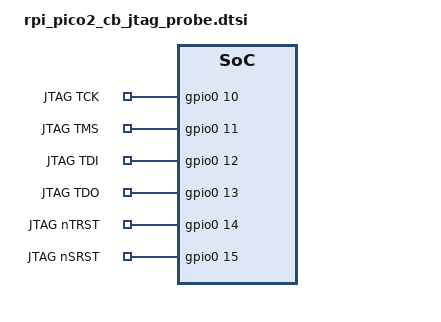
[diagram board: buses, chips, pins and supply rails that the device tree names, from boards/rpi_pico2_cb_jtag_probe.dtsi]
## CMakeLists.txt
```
# Copyright (c) 2021 Teslabs Engineering S.L.
# SPDX-License-Identifier: Apache-2.0

cmake_minimum_required(VERSION 3.20.0)

# add our custom zephyr BOARD_ROOT directory
list(APPEND BOARD_ROOT
	${CMAKE_CURRENT_SOURCE_DIR}/../
)

find_package(Zephyr REQUIRED HINTS $ENV{ZEPHYR_BASE})
project(max6675)

FILE(GLOB app_sources CONFIGURE_DEPENDS src/*.c)
target_sources(app PRIVATE ${app_sources})
```

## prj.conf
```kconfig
CONFIG_USB_DEVICE_STACK_NEXT=y
CONFIG_USBD_LOG_LEVEL_WRN=y
CONFIG_USBD_THREAD_STACK_SIZE=4096
CONFIG_USBD_CDC_ACM_CLASS=y
CONFIG_USBD_CDC_ACM_LOG_LEVEL_OFF=y

CONFIG_SERIAL=y
CONFIG_UART_LINE_CTRL=y
CONFIG_UART_INTERRUPT_DRIVEN=y
CONFIG_UART_USE_RUNTIME_CONFIGURE=y
```

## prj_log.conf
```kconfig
# SPDX-License-Identifier: GPL-3.0
# Copyright (c) 2023 Chriesibaum GmbH

# enable the boot banner
CONFIG_BOOT_BANNER=y

# enable all console and log messages
CONFIG_EARLY_CONSOLE=y
CONFIG_DEBUG=y
CONFIG_CONSOLE=y
CONFIG_UART_CONSOLE=y
CONFIG_STDOUT_CONSOLE=y


# enable logging
CONFIG_LOG=y
CONFIG_LOG_BACKEND_UART=y
CONFIG_LOG_BUFFER_SIZE=2024
CONFIG_LOG_RUNTIME_FILTERING=y
CONFIG_LOG_PROCESS_TRIGGER_THRESHOLD=0
CONFIG_CBPRINTF_FP_SUPPORT=y
CONFIG_LOG_PROCESS_THREAD=y
CONFIG_LOG_PROCESS_THREAD_SLEEP_MS=100
CONFIG_LOG_PROCESS_THREAD_STACK_SIZE=1024

# OFF: 0
# ERR: 1
# WRN: 2
# INF: 3
# DBG: 4
CONFIG_LOG_DEFAULT_LEVEL=3
```

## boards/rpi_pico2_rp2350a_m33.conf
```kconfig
CONFIG_SMP=y
CONFIG_MP_MAX_NUM_CPUS=2
```

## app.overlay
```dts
/{
	chosen {
		zephyr,console = &cdc_acm_uart0;
		zephyr,shell-uart = &cdc_acm_uart0;
	};
/*
	aliases {
		sys-led = &blue_led;
	};
*/
};


&zephyr_udc0 {

	cdc_acm_uart0: cdc_acm_uart0 {
		compatible = "zephyr,cdc-acm-uart";
		label = "Zephyr USB CDC-ACM uart0";
		status = "okay";
	};
};
```

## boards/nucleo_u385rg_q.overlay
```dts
/ {
	aliases {
		jtag-tck = &jtag_tck;
		jtag-tms = &jtag_tms;
		jtag-tdi = &jtag_tdi;
		jtag-tdo = &jtag_tdo;
	};

	jtag_pins: jtag_pins {
		compatible = "gpio-keys";

		jtag_tck: jtag_tck {
			gpios = <&gpioa 3 GPIO_ACTIVE_HIGH>;
			label = "JTAG TCK";
		};

		jtag_tms: jtag_tms {
			gpios = <&gpioa 2 GPIO_ACTIVE_HIGH>;
			label = "JTAG TMS";
		};

		jtag_tdi: jtag_tdi {
			gpios = <&gpioc 8 GPIO_ACTIVE_HIGH>;
			label = "JTAG TDI";
		};

		jtag_tdo: jtag_tdo {
			gpios = <&gpiob 3 GPIO_ACTIVE_HIGH>;
			label = "JTAG TDO";
		};
	};
};
```

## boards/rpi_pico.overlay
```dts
/ {
	aliases {
		jtag-tck = &jtag_tck;
		jtag-tms = &jtag_tms;
		jtag-tdi = &jtag_tdi;
		jtag-tdo = &jtag_tdo;
	};

	jtag_pins: jtag_pins {
		compatible = "gpio-keys";

		jtag_tck: jtag_tck {
			gpios = <&gpio0 0 GPIO_ACTIVE_HIGH>;
			label = "JTAG TCK";
		};

		jtag_tms: jtag_tms {
			gpios = <&gpio0 1 GPIO_ACTIVE_HIGH>;
			label = "JTAG TMS";
		};

		jtag_tdi: jtag_tdi {
			gpios = <&gpio0 2 GPIO_ACTIVE_HIGH>;
			label = "JTAG TDI";
		};

		jtag_tdo: jtag_tdo {
			gpios = <&gpio0 3 GPIO_ACTIVE_HIGH>;
			label = "JTAG TDO";
		};
	};
};
```

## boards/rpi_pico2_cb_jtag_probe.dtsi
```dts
/ {
	aliases {
        sys-led = &led0;
		jtag-tck = &jtag_tck;
		jtag-tms = &jtag_tms;
		jtag-tdi = &jtag_tdi;
		jtag-tdo = &jtag_tdo;
		jtag-ntrst = &jtag_ntrst;
		jtag-nsrst = &jtag_nsrst;
	};

	jtag_pins: jtag_pins {
		compatible = "gpio-keys";

		jtag_tck: jtag_tck {
			gpios = <&gpio0 10 GPIO_ACTIVE_HIGH>;
			label = "JTAG TCK";
		};

		jtag_tms: jtag_tms {
			gpios = <&gpio0 11 GPIO_ACTIVE_HIGH>;
			label = "JTAG TMS";
		};

		jtag_tdi: jtag_tdi {
			gpios = <&gpio0 12 GPIO_ACTIVE_HIGH>;
			label = "JTAG TDI";
		};

		jtag_tdo: jtag_tdo {
			gpios = <&gpio0 13 GPIO_ACTIVE_HIGH>;
			label = "JTAG TDO";
		};

		jtag_ntrst: jtag_ntrst {
			gpios = <&gpio0 14 GPIO_ACTIVE_HIGH>;
			label = "JTAG nTRST";
		};

		jtag_nsrst: jtag_nsrst {
			gpios = <&gpio0 15 GPIO_ACTIVE_HIGH>;
			label = "JTAG nSRST";
		};

	};
};
```

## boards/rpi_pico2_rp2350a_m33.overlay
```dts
#include "rpi_pico2_cb_jtag_probe.dtsi"
```

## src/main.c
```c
#include <stdio.h>

#include <zephyr/kernel.h>

#include "error.h"
#include "sys.h"
#include "info.h"
#include "jtag_engine.h"
#include "usb_bulk_jtag.h"
#include "usb_jtag_transport.h"

// ---- logging includes/defines ----------------------------------------------
#include <zephyr/logging/log.h>
LOG_MODULE_REGISTER(main, CONFIG_LOG_DEFAULT_LEVEL);


int32_t main(void)
{
    int ret;

    ret = sys_init();
    ERR_CHECK(ret < 0, ret, "System init failed (err %d)", ret);

    ret = jtag_engine_init();
    ERR_CHECK(ret < 0, ret, "JTAG engine init failed (err %d)", ret);

    ret = usb_bulk_jtag_init();
    ERR_CHECK(ret < 0, ret, "USB bulk JTAG init failed (err %d)", ret);

    k_sleep(K_SECONDS(1));

    info_log();

    while (true) {
        k_sleep(K_SECONDS(1));
    }
}
```

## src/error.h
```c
// SPDX-License-Identifier: GPL-3.0
// Copyright (c) 2023 Chriesibaum GmbH

#ifndef _ERROR_H
#define _ERROR_H

#ifdef __cplusplus
extern "C" {
#endif


// INCLUDE FILES
#include <zephyr/kernel.h>


// GLOBAL DEFINITIONS
// Definition of global defines and typedefs (visible by all modules).

// general errors defines
#define NO_ERR										0			// no error
#define ALL_GOOD									NO_ERR		// no error on exit
#define GEN_ERR										-1			// general error
#define INIT_ERR									-2			// initialization error
#define PARAM_ERR									-3			// parameter error
#define MEM_ERR										-4			// memory error
#define COMM_ERR									-5			// communication error

/**
 ** @brief Error check and return macro
 **
 ** The macro checks the contract value and if != 0/True then it returns the parameter
 ** error_code and logs or printk()'s the error to std.
 **
 ** @param[in] contract contract value to be checked
 ** @param[in] error_code error code to be returned
 ** @param[in] message_format `printf`-like format string to log or print the message
 ** @return error_code return value if contract
 **
 ** Example:
 ** \code{.c}
 **     int32_t ret = 0;
 **
 **     // return value from some_function) = 0 if all good, neg. value if error
 **     ret = some_function()
 **     ERR_CHECK(ret, GEN_ERR, "just an error to test (err %d)", ret);
 **
 **     // return value from some_other_function() = 0 or pos value if all good,
 **     // neg. value if an error occurred
 **     ret = some_other_function()
 **     ERR_CHECK(ret < 0, GEN_ERR, "just an error to test (err %d)", ret);
 **
 **     // or return the error value from some_other_function() instead of GEN_ERR
 **     ERR_CHECK(ret < 0, ret, "just an error to test (err %d)", ret);
 ** \endcode
 **/

#if defined CONFIG_LOG || defined APP_DOXYGEN	// use LOG_ERR() if logging is enabled

#define ERR_CHECK(contract, error_code, message_format, ...) \
if ((contract)) { \
	LOG_ERR(message_format, ##__VA_ARGS__); \
	return error_code; \
}

#else					// use printk if no logging is available

#define ERR_CHECK(contract, error_code, message_format, ...) \
if ((contract)) { \
	printk("<err> "); \
	printk(message_format, ##__VA_ARGS__); \
	printk("\n"); \
	return error_code; \
}
#endif


/**
 ** @brief Error check and halt macro
 **
 ** The macro checks the contract value and if true, it logs the error or prints it to std
 ** and halts the kernel by software triggering a fatal error.
 **
 ** @param[in] contract contract value to be checked
 ** @param[in] message_format `printf`-like format string to log or print the message
 **/

#if defined CONFIG_LOG || defined APP_DOXYGEN	// use LOG_ERR() if logging is enabled

#define ERR_CHECK_HALT(contract, message_format, ...) \
if ((contract)) { \
	LOG_ERR(message_format, ##__VA_ARGS__); \
	LOG_ERR("Fatal ERROR - halting system!"); \
	k_oops(); \
}

#else					// use printk if no logging is available

#define ERR_CHECK_HALT(contract, message_format, ...) \
if ((contract)) { \
	printk("<err> "); \
	printk(message_format, ##__VA_ARGS__); \
	LOG_ERR("\nFatal ERROR - halting system!\n"); \
	k_oops(); \
}
#endif


#ifdef __cplusplus
}
#endif

#endif // _ERROR_H

/** @} */
```

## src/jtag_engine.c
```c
#include <zephyr/devicetree.h>
#include <zephyr/drivers/gpio.h>
#include <errno.h>
#include <string.h>

#include "jtag_engine.h"
#include "jtag_proto.h"
#include "error.h"

// ---- logging includes/defines ----------------------------------------------
#include <zephyr/logging/log.h>
// LOG_MODULE_REGISTER(JTAG_ENGINE, CONFIG_LOG_DEFAULT_LEVEL);
LOG_MODULE_REGISTER(JTAG_ENGINE, LOG_LEVEL_DBG);

#define JTAG_TCK_NODE DT_ALIAS(jtag_tck)
#define JTAG_TMS_NODE DT_ALIAS(jtag_tms)
#define JTAG_TDI_NODE DT_ALIAS(jtag_tdi)
#define JTAG_TDO_NODE DT_ALIAS(jtag_tdo)
#define JTAG_NSRST_NODE DT_NODELABEL(jtag_nsrst)

#if DT_HAS_ALIAS(jtag_tck) && DT_HAS_ALIAS(jtag_tms) && \
	DT_HAS_ALIAS(jtag_tdi) && DT_HAS_ALIAS(jtag_tdo)

    static const struct gpio_dt_spec jtag_tck = GPIO_DT_SPEC_GET(JTAG_TCK_NODE, gpios);
    static const struct gpio_dt_spec jtag_tms = GPIO_DT_SPEC_GET(JTAG_TMS_NODE, gpios);
    static const struct gpio_dt_spec jtag_tdi = GPIO_DT_SPEC_GET(JTAG_TDI_NODE, gpios);
    static const struct gpio_dt_spec jtag_tdo = GPIO_DT_SPEC_GET(JTAG_TDO_NODE, gpios);
#else
#error "JTAG GPIO aliases (jtag-tck/tms/tdi/tdo) must be defined in devicetree"
#endif

static bool jtag_ready;
static bool nsrst_ready;
static const size_t jtag_log_hexdump_max_bytes = 64u;

#if DT_NODE_EXISTS(JTAG_NSRST_NODE)
static const struct gpio_dt_spec jtag_nsrst = GPIO_DT_SPEC_GET(JTAG_NSRST_NODE, gpios);
#endif

static inline uint8_t get_bit(const uint8_t *buf, uint32_t bit_index)
{
	return (buf[bit_index / 8u] >> (bit_index % 8u)) & 0x1u;
}

static inline void set_bit(uint8_t *buf, uint32_t bit_index, uint8_t value)
{
	uint8_t mask = (uint8_t)(1u << (bit_index % 8u));

	if (value != 0u) {
		buf[bit_index / 8u] |= mask;
	} else {
		buf[bit_index / 8u] &= (uint8_t)(~mask);
	}
}

int jtag_engine_init(void)
{
	int rc;

	if (!device_is_ready(jtag_tck.port) || !device_is_ready(jtag_tms.port) ||
	    !device_is_ready(jtag_tdi.port) || !device_is_ready(jtag_tdo.port)) {
		LOG_ERR("JTAG GPIO port not ready");
		return -1;
	}

	rc = gpio_pin_configure_dt(&jtag_tck, GPIO_OUTPUT_INACTIVE);
	if (rc != 0) {
		LOG_ERR("Failed to configure TCK rc=%d", rc);
		return rc;
	}

	rc = gpio_pin_configure_dt(&jtag_tms, GPIO_OUTPUT_INACTIVE);
	if (rc != 0) {
		LOG_ERR("Failed to configure TMS rc=%d", rc);
		return rc;
	}

	rc = gpio_pin_configure_dt(&jtag_tdi, GPIO_OUTPUT_INACTIVE);
	if (rc != 0) {
		LOG_ERR("Failed to configure TDI rc=%d", rc);
		return rc;
	}

	rc = gpio_pin_configure_dt(&jtag_tdo, GPIO_INPUT);
	if (rc != 0) {
		LOG_ERR("Failed to configure TDO rc=%d", rc);
		return rc;
	}

#if DT_NODE_EXISTS(JTAG_NSRST_NODE)
	if (!device_is_ready(jtag_nsrst.port)) {
		LOG_WRN("nSRST GPIO port not ready, reset control disabled");
		nsrst_ready = false;
	} else {
		rc = gpio_pin_configure_dt(&jtag_nsrst, GPIO_OUTPUT_ACTIVE);
		if (rc != 0) {
			LOG_WRN("Failed to configure nSRST rc=%d, reset control disabled", rc);
			nsrst_ready = false;
		} else {
			nsrst_ready = true;
		}
	}
#else
	nsrst_ready = false;
#endif

	jtag_ready = true;
	return 0;
}

int jtag_engine_shift_bits(const uint8_t *tdi,
			   const uint8_t *tms,
			   uint8_t *tdo,
			   uint32_t n_bits)
{
	size_t n_bytes;
	size_t dump_bytes;
	int rc;

	if (!jtag_ready) {
		return -1;
	}

	if ((tdi == NULL) || (tms == NULL) || (tdo == NULL) || (n_bits == 0u)) {
		return -2;
	}

	n_bytes = jtag_bytes_for_bits(n_bits);
	dump_bytes = (n_bytes > jtag_log_hexdump_max_bytes) ? jtag_log_hexdump_max_bytes : n_bytes;

	LOG_DBG("Shifting %u bits through JTAG chain (%u bytes)", n_bits, (uint32_t)n_bytes);
	LOG_HEXDUMP_DBG(tdi, dump_bytes, "TDI");
	LOG_HEXDUMP_DBG(tms, dump_bytes, "TMS");
	if (dump_bytes < n_bytes) {
		LOG_DBG("Hexdump truncated to %u/%u bytes", (uint32_t)dump_bytes, (uint32_t)n_bytes);
	}

	memset(tdo, 0, n_bytes);

	for (uint32_t i = 0; i < n_bits; i++) {
		rc = gpio_pin_set_dt(&jtag_tms, get_bit(tms, i));
		if (rc != 0) {
			return rc;
		}

		rc = gpio_pin_set_dt(&jtag_tdi, get_bit(tdi, i));
		if (rc != 0) {
			return rc;
		}

		rc = gpio_pin_set_dt(&jtag_tck, 1);
		if (rc != 0) {
			return rc;
		}

		rc = gpio_pin_get_dt(&jtag_tdo);
		if (rc < 0) {
			return rc;
		}
		set_bit(tdo, i, (uint8_t)rc);

		rc = gpio_pin_set_dt(&jtag_tck, 0);
		if (rc != 0) {
			return rc;
		}
	}

	return 0;
}

int jtag_engine_shift_loopback(const uint8_t *tdi,
				      const uint8_t *tms,
				      uint8_t *tdo,
				      uint32_t n_bits)
{
	size_t n_bytes;
	uint8_t last_mask;

	(void)tms;

	if ((tdi == NULL) || (tdo == NULL) || (n_bits == 0u)) {
		return -1;
	}

	n_bytes = jtag_bytes_for_bits(n_bits);
	memcpy(tdo, tdi, n_bytes);

	/* Ensure padding bits above n_bits are always cleared. */
	last_mask = (uint8_t)((n_bits % 8u) == 0u ? 0xFFu : ((1u << (n_bits % 8u)) - 1u));
	tdo[n_bytes - 1u] &= last_mask;

    LOG_HEXDUMP_DBG(tdo, n_bytes, "TDO");

	return 0;
}

int jtag_engine_set_nsrst_high(void)
{
#if DT_NODE_EXISTS(JTAG_NSRST_NODE)
	if (!jtag_ready) {
		return -EIO;
	}

	if (!nsrst_ready) {
		return -ENOTSUP;
	}

	LOG_DBG("set nSRST high");
	return gpio_pin_set_dt(&jtag_nsrst, 1);
#else
	return -ENOTSUP;
#endif
}

int jtag_engine_set_nsrst_low(void)
{
#if DT_NODE_EXISTS(JTAG_NSRST_NODE)
	if (!jtag_ready) {
		return -EIO;
	}

	if (!nsrst_ready) {
		return -ENOTSUP;
	}

	LOG_DBG("set nSRST low");
	return gpio_pin_set_dt(&jtag_nsrst, 0);
#else
	return -ENOTSUP;
#endif
}
```

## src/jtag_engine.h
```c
#ifndef JTAG_ENGINE_H_
#define JTAG_ENGINE_H_

#include <stdint.h>

#ifdef __cplusplus
extern "C" {
#endif

int jtag_engine_init(void);

int jtag_engine_shift_bits(const uint8_t *tdi,
			   const uint8_t *tms,
			   uint8_t *tdo,
			   uint32_t n_bits);

int jtag_engine_shift_loopback(const uint8_t *tdi,
				      const uint8_t *tms,
				      uint8_t *tdo,
				      uint32_t n_bits);

int jtag_engine_set_nsrst_high(void);
int jtag_engine_set_nsrst_low(void);

#ifdef __cplusplus
}
#endif

#endif /* JTAG_ENGINE_H_ */
```

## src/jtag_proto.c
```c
#include "jtag_proto.h"

#include <string.h>

#define JTAG_PROTO_RESERVED_MASK 0x0000u

static uint16_t le16_read(const uint8_t *p)
{
	return (uint16_t)p[0] | ((uint16_t)p[1] << 8);
}

static uint32_t le32_read(const uint8_t *p)
{
	return (uint32_t)p[0] |
	       ((uint32_t)p[1] << 8) |
	       ((uint32_t)p[2] << 16) |
	       ((uint32_t)p[3] << 24);
}

static void le16_write(uint8_t *p, uint16_t v)
{
	p[0] = (uint8_t)(v & 0xFFu);
	p[1] = (uint8_t)((v >> 8) & 0xFFu);
}

static void le32_write(uint8_t *p, uint32_t v)
{
	p[0] = (uint8_t)(v & 0xFFu);
	p[1] = (uint8_t)((v >> 8) & 0xFFu);
	p[2] = (uint8_t)((v >> 16) & 0xFFu);
	p[3] = (uint8_t)((v >> 24) & 0xFFu);
}

size_t jtag_bytes_for_bits(uint32_t n_bits)
{
	return (size_t)((n_bits + 7u) / 8u);
}

int jtag_proto_decode_scan_request(const uint8_t *buf, size_t len,
					 struct jtag_scan_request *req)
{
	size_t n_bytes;
	uint16_t reserved;
	uint8_t cmd;

	if ((buf == NULL) || (req == NULL) || (len < JTAG_PROTO_HEADER_SIZE)) {
		return -1;
	}

	cmd = buf[0];
	if (cmd != JTAG_CMD_SCAN) {
		return -2;
	}

	reserved = le16_read(&buf[2]);
	if (reserved != JTAG_PROTO_RESERVED_MASK) {
		return -3;
	}

	req->flags = buf[1];
	req->n_bits = le32_read(&buf[4]);
	n_bytes = jtag_bytes_for_bits(req->n_bits);

	if (req->n_bits == 0u) {
		return -4;
	}

	if (len != (JTAG_PROTO_HEADER_SIZE + (2u * n_bytes))) {
		return -5;
	}

	req->n_bytes = n_bytes;
	req->tdi = &buf[JTAG_PROTO_HEADER_SIZE];
	req->tms = &buf[JTAG_PROTO_HEADER_SIZE + n_bytes];

	return 0;
}

int jtag_proto_encode_scan_response(const struct jtag_scan_response *rsp,
					 uint8_t *buf,
					 size_t buf_len,
					 size_t *encoded_len)
{
	size_t needed;

	if ((rsp == NULL) || (buf == NULL) || (encoded_len == NULL)) {
		return -1;
	}

	needed = JTAG_PROTO_HEADER_SIZE + rsp->n_bytes;
	if (buf_len < needed) {
		return -2;
	}

	buf[0] = rsp->status;
	buf[1] = rsp->flags;
	le16_write(&buf[2], 0u);
	le32_write(&buf[4], rsp->n_bits);

	if ((rsp->n_bytes > 0u) && (rsp->tdo != NULL)) {
		memcpy(&buf[JTAG_PROTO_HEADER_SIZE], rsp->tdo, rsp->n_bytes);
	}

	*encoded_len = needed;
	return 0;
}
```

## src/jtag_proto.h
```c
#ifndef JTAG_PROTO_H_
#define JTAG_PROTO_H_

#include <stddef.h>
#include <stdint.h>

#ifdef __cplusplus
extern "C" {
#endif

#define JTAG_CMD_SCAN 0x01u
#define JTAG_CMD_NSRST_HIGH 0x02u
#define JTAG_CMD_NSRST_LOW 0x03u
#define JTAG_CMD_GET_FW_VERSION 0x04u
#define JTAG_CMD_GET_DEVICE_ID 0x05u

#define JTAG_FW_VERSION_PAYLOAD_LEN 32u
#define JTAG_DEVICE_ID_PAYLOAD_MAX_LEN 16u

#define JTAG_STATUS_OK 0x00u
#define JTAG_STATUS_BAD_CMD 0x01u
#define JTAG_STATUS_BAD_LEN 0x02u
#define JTAG_STATUS_INTERNAL_ERR 0x03u

#define JTAG_PROTO_HEADER_SIZE 8u

struct jtag_scan_request {
	uint8_t flags;
	uint32_t n_bits;
	size_t n_bytes;
	const uint8_t *tdi;
	const uint8_t *tms;
};

struct jtag_scan_response {
	uint8_t status;
	uint8_t flags;
	uint32_t n_bits;
	size_t n_bytes;
	const uint8_t *tdo;
};

size_t jtag_bytes_for_bits(uint32_t n_bits);

int jtag_proto_decode_scan_request(const uint8_t *buf, size_t len,
					 struct jtag_scan_request *req);

int jtag_proto_encode_scan_response(const struct jtag_scan_response *rsp,
					 uint8_t *buf,
					 size_t buf_len,
					 size_t *encoded_len);

#ifdef __cplusplus
}
#endif

#endif /* JTAG_PROTO_H_ */
```

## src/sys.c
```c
// SPDX-License-Identifier: GPL-3.0
// Copyright (c) 2026 Chriesibaum GmbH

// ---- system includes -------------------------------------------------------
#include <stdio.h>
#include <zephyr/kernel.h>
#include <zephyr/drivers/gpio.h>

// ---- logging includes/defines ----------------------------------------------
#include <zephyr/logging/log.h>
LOG_MODULE_REGISTER(SYS, CONFIG_LOG_DEFAULT_LEVEL);

// Application includes
#include "sys.h"


#define LED_SYS_NODE DT_ALIAS(sys_led)
#define LED_TOGGLE_PERIOD_MS 1000   // Toggle period in milliseconds
#define LED_BLINK_DURATION_MS  50   // LED on duration in milliseconds


static const struct gpio_dt_spec led_sys = GPIO_DT_SPEC_GET(LED_SYS_NODE, gpios);

// sys led timer
static void sys_led_timer_handler(struct k_timer *timer);
K_TIMER_DEFINE(sys_led_timer, sys_led_timer_handler, NULL);

static void sys_led_timer_off_handler(struct k_timer *timer);
K_TIMER_DEFINE(sys_led_timer_off, sys_led_timer_off_handler, NULL);

static void sys_led_timer_handler(struct k_timer *timer)
{
    gpio_pin_set_dt(&led_sys, 1);
    k_timer_start(&sys_led_timer_off, K_MSEC(LED_BLINK_DURATION_MS), K_NO_WAIT);
}

static void sys_led_timer_off_handler(struct k_timer *timer)
{
    gpio_pin_set_dt(&led_sys, 0);
}

int32_t sys_init(void)
{
    if (!gpio_is_ready_dt(&led_sys)) {
        return -1;
    }

    int32_t ret = gpio_pin_configure_dt(&led_sys, GPIO_OUTPUT_INACTIVE);
    if (ret < 0) {
        return ret;
    }

    /* Start the timer to toggle LED every LED_TOGGLE_PERIOD_MS */
    k_timer_start(&sys_led_timer, K_MSEC(LED_TOGGLE_PERIOD_MS), K_MSEC(LED_TOGGLE_PERIOD_MS));

    return 0;
}
```

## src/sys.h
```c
// SPDX-License-Identifier: GPL-3.0
// Copyright (c) 2026 Chriesibaum GmbH

#ifndef _SYS_H
#define _SYS_H

#ifdef __cplusplus
extern "C" {
#endif


// ---- INCLUDES --------------------------------------------------------------------


// ---- GLOBAL DEFINITIONS -------------------------------------------------------
// Definition of global defines and typedefs (visible by all modules).


// ---- GLOBAL PROTOTYPES ---------------------------------------------------------
// Definition of global functions (visible by all modules).
extern int32_t sys_init(void);

#ifdef __cplusplus
}
#endif

#endif // _SYS_H

/** @} */
```

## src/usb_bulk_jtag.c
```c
#include "usb_bulk_jtag.h"

#include <errno.h>

#include <zephyr/drivers/usb/udc.h>
#include <zephyr/kernel.h>
#include <zephyr/logging/log.h>
#include <zephyr/sys/byteorder.h>
#include <zephyr/usb/usbd.h>

#include "jtag_proto.h"
#include "usb_jtag_transport.h"

LOG_MODULE_REGISTER(usb_bulk_jtag, CONFIG_LOG_DEFAULT_LEVEL);

#define JTAG_BULK_EP_OUT_ADDR 0x01
#define JTAG_BULK_EP_IN_ADDR  0x81

#define JTAG_BULK_MAX_BITS        4096u
#define JTAG_BULK_MAX_REQ_BYTES   (JTAG_PROTO_HEADER_SIZE + (2u * (JTAG_BULK_MAX_BITS / 8u)))
#define JTAG_BULK_MAX_RESP_BYTES  (JTAG_PROTO_HEADER_SIZE + (JTAG_BULK_MAX_BITS / 8u))
#define JTAG_BULK_OUT_XFER_BYTES  USBD_MAX_BULK_MPS

enum {
	JTAG_BULK_ENABLED = 0,
	JTAG_BULK_OUT_ARMED,
	JTAG_BULK_IN_FLIGHT,
};

struct jtag_bulk_desc {
	struct usb_if_descriptor if0;
	struct usb_ep_descriptor if0_out_ep;
	struct usb_ep_descriptor if0_in_ep;
	struct usb_ep_descriptor if0_hs_out_ep;
	struct usb_ep_descriptor if0_hs_in_ep;
	struct usb_desc_header nil_desc;
};

struct jtag_bulk_data {
	struct jtag_bulk_desc *const desc;
	const struct usb_desc_header **const fs_desc;
	const struct usb_desc_header **const hs_desc;
	atomic_t state;
	size_t rx_len;
	uint8_t rx_buf[JTAG_BULK_MAX_REQ_BYTES];
};

static uint8_t tx_buf[JTAG_BULK_MAX_RESP_BYTES];

static int jtag_bulk_expected_req_len(const uint8_t *buf, size_t len, size_t *expected)
{
	uint8_t cmd;
	uint32_t n_bits;
	size_t n_bytes;

	if ((buf == NULL) || (expected == NULL)) {
		return -EINVAL;
	}

	if (len < JTAG_PROTO_HEADER_SIZE) {
		return -EAGAIN;
	}

	cmd = buf[0];
	if ((cmd == JTAG_CMD_NSRST_HIGH) ||
	    (cmd == JTAG_CMD_NSRST_LOW) ||
	    (cmd == JTAG_CMD_GET_FW_VERSION) ||
	    (cmd == JTAG_CMD_GET_DEVICE_ID)) {
		*expected = JTAG_PROTO_HEADER_SIZE;
		return 0;
	}

	if (cmd != JTAG_CMD_SCAN) {
		return -EINVAL;
	}

	/* Header layout: cmd(1), flags(1), reserved(2), n_bits(4 LE). */
	n_bits = (uint32_t)buf[4] |
		 ((uint32_t)buf[5] << 8) |
		 ((uint32_t)buf[6] << 16) |
		 ((uint32_t)buf[7] << 24);

	if (n_bits == 0u) {
		return -EINVAL;
	}

	n_bytes = jtag_bytes_for_bits(n_bits);
	*expected = JTAG_PROTO_HEADER_SIZE + (2u * n_bytes);

	if (*expected > JTAG_BULK_MAX_REQ_BYTES) {
		return -EMSGSIZE;
	}

	return 0;
}

static uint8_t jtag_bulk_get_out_ep(struct usbd_class_data *const c_data)
{
	struct jtag_bulk_data *data = usbd_class_get_private(c_data);
	struct usbd_context *ctx = usbd_class_get_ctx(c_data);

	if (USBD_SUPPORTS_HIGH_SPEED && usbd_bus_speed(ctx) == USBD_SPEED_HS) {
		return data->desc->if0_hs_out_ep.bEndpointAddress;
	}

	return data->desc->if0_out_ep.bEndpointAddress;
}

static uint8_t jtag_bulk_get_in_ep(struct usbd_class_data *const c_data)
{
	struct jtag_bulk_data *data = usbd_class_get_private(c_data);
	struct usbd_context *ctx = usbd_class_get_ctx(c_data);

	if (USBD_SUPPORTS_HIGH_SPEED && usbd_bus_speed(ctx) == USBD_SPEED_HS) {
		return data->desc->if0_hs_in_ep.bEndpointAddress;
	}

	return data->desc->if0_in_ep.bEndpointAddress;
}

static int jtag_bulk_submit_out(struct usbd_class_data *const c_data)
{
	struct jtag_bulk_data *data = usbd_class_get_private(c_data);
	struct net_buf *buf;
	int ret;

	if (!atomic_test_bit(&data->state, JTAG_BULK_ENABLED)) {
		return -EPERM;
	}

	buf = usbd_ep_buf_alloc(c_data, jtag_bulk_get_out_ep(c_data), JTAG_BULK_OUT_XFER_BYTES);
	if (buf == NULL) {
		LOG_ERR("Failed to allocate OUT buffer (%u bytes)", JTAG_BULK_OUT_XFER_BYTES);
		return -ENOMEM;
	}

	ret = usbd_ep_enqueue(c_data, buf);
	if (ret != 0) {
		LOG_ERR("Failed to enqueue OUT transfer ret=%d", ret);
		net_buf_unref(buf);
	} else {
		atomic_set_bit(&data->state, JTAG_BULK_OUT_ARMED);
	}

	return ret;
}

static int jtag_bulk_submit_in(struct usbd_class_data *const c_data,
			      const uint8_t *data,
			      size_t len)
{
	struct jtag_bulk_data *bulk_data = usbd_class_get_private(c_data);
	struct net_buf *buf;
	int ret;

	if ((data == NULL) || (len == 0u) || (len > JTAG_BULK_MAX_RESP_BYTES)) {
		return -EINVAL;
	}

	buf = usbd_ep_buf_alloc(c_data, jtag_bulk_get_in_ep(c_data), len);
	if (buf == NULL) {
		return -ENOMEM;
	}

	net_buf_add_mem(buf, data, len);
	ret = usbd_ep_enqueue(c_data, buf);
	if (ret != 0) {
		net_buf_unref(buf);
	} else {
		atomic_set_bit(&bulk_data->state, JTAG_BULK_IN_FLIGHT);
	}

	return ret;
}

static void jtag_bulk_send_status(struct usbd_class_data *const c_data, uint8_t status)
{
	struct jtag_scan_response rsp = {
		.status = status,
		.flags = 0u,
		.n_bits = 0u,
		.n_bytes = 0u,
		.tdo = NULL,
	};
	size_t tx_len = 0u;

	if (jtag_proto_encode_scan_response(&rsp, tx_buf, sizeof(tx_buf), &tx_len) == 0) {
		(void)jtag_bulk_submit_in(c_data, tx_buf, tx_len);
	}
}

static void jtag_bulk_reset_rx(struct jtag_bulk_data *data)
{
	data->rx_len = 0u;
}

static int jtag_bulk_request_handler(struct usbd_class_data *const c_data,
				     struct net_buf *const buf,
				     int err)
{
	struct udc_buf_info *bi = udc_get_buf_info(buf);
	uint8_t ep = bi->ep;

	if (ep == jtag_bulk_get_out_ep(c_data)) {
		struct jtag_bulk_data *data = usbd_class_get_private(c_data);

		atomic_clear_bit(&data->state, JTAG_BULK_OUT_ARMED);

		if (err == 0) {
			size_t tx_len = 0u;
			size_t expected = 0u;
			int ret;

			if ((data->rx_len + buf->len) > sizeof(data->rx_buf)) {
				LOG_WRN("RX frame overflow (%u + %u)", (uint32_t)data->rx_len,
					(uint32_t)buf->len);
				jtag_bulk_send_status(c_data, JTAG_STATUS_BAD_LEN);
				jtag_bulk_reset_rx(data);
				net_buf_unref(buf);
				if (!atomic_test_bit(&data->state, JTAG_BULK_IN_FLIGHT)) {
					(void)jtag_bulk_submit_out(c_data);
				}
				return 0;
			}

			memcpy(&data->rx_buf[data->rx_len], buf->data, buf->len);
			data->rx_len += buf->len;

			ret = jtag_bulk_expected_req_len(data->rx_buf, data->rx_len, &expected);
			if (ret == -EAGAIN) {
				net_buf_unref(buf);
				if (!atomic_test_bit(&data->state, JTAG_BULK_IN_FLIGHT)) {
					(void)jtag_bulk_submit_out(c_data);
				}
				return 0;
			}

			if (ret != 0) {
				jtag_bulk_send_status(c_data, JTAG_STATUS_BAD_LEN);
				jtag_bulk_reset_rx(data);
				net_buf_unref(buf);
				if (!atomic_test_bit(&data->state, JTAG_BULK_IN_FLIGHT)) {
					(void)jtag_bulk_submit_out(c_data);
				}
				return 0;
			}

			if (data->rx_len < expected) {
				net_buf_unref(buf);
				if (!atomic_test_bit(&data->state, JTAG_BULK_IN_FLIGHT)) {
					(void)jtag_bulk_submit_out(c_data);
				}
				return 0;
			}

			if (data->rx_len > expected) {
				jtag_bulk_send_status(c_data, JTAG_STATUS_BAD_LEN);
				jtag_bulk_reset_rx(data);
				net_buf_unref(buf);
				if (!atomic_test_bit(&data->state, JTAG_BULK_IN_FLIGHT)) {
					(void)jtag_bulk_submit_out(c_data);
				}
				return 0;
			}

			ret = usb_jtag_transport_process_frame(data->rx_buf, data->rx_len,
							      tx_buf, sizeof(tx_buf), &tx_len);
			jtag_bulk_reset_rx(data);

			if ((ret == 0) && (tx_len > 0u)) {
				ret = jtag_bulk_submit_in(c_data, tx_buf, tx_len);
				if (ret != 0) {
					LOG_WRN("Failed to enqueue IN transfer ret=%d", ret);
				}
			} else {
				jtag_bulk_send_status(c_data, JTAG_STATUS_INTERNAL_ERR);
			}
		} else {
			jtag_bulk_send_status(c_data, JTAG_STATUS_INTERNAL_ERR);
			jtag_bulk_reset_rx(data);
		}

		net_buf_unref(buf);
		if (!atomic_test_bit(&data->state, JTAG_BULK_IN_FLIGHT)) {
			(void)jtag_bulk_submit_out(c_data);
		}
		return 0;
	}

	if (ep == jtag_bulk_get_in_ep(c_data)) {
		struct jtag_bulk_data *data = usbd_class_get_private(c_data);

		atomic_clear_bit(&data->state, JTAG_BULK_IN_FLIGHT);
		net_buf_unref(buf);

		if (atomic_test_bit(&data->state, JTAG_BULK_ENABLED) &&
		    !atomic_test_bit(&data->state, JTAG_BULK_OUT_ARMED)) {
			(void)jtag_bulk_submit_out(c_data);
		}

		if (err != 0) {
			LOG_WRN("IN transfer failed ep=0x%02x err=%d", ep, err);
		}

		return 0;
	}

	net_buf_unref(buf);
	if (err != 0) {
		LOG_WRN("Transfer failed ep=0x%02x err=%d", ep, err);
	}

	return 0;
}

static void *jtag_bulk_get_desc(struct usbd_class_data *const c_data,
				const enum usbd_speed speed)
{
	struct jtag_bulk_data *data = usbd_class_get_private(c_data);

	if (USBD_SUPPORTS_HIGH_SPEED && speed == USBD_SPEED_HS) {
		return data->hs_desc;
	}

	return data->fs_desc;
}

static void jtag_bulk_enable(struct usbd_class_data *const c_data)
{
	struct jtag_bulk_data *data = usbd_class_get_private(c_data);

	if (!atomic_test_and_set_bit(&data->state, JTAG_BULK_ENABLED)) {
		int ret = jtag_bulk_submit_out(c_data);

		if (ret != 0) {
			LOG_ERR("Failed to arm bulk OUT endpoint ret=%d", ret);
		}
	}
}

static void jtag_bulk_disable(struct usbd_class_data *const c_data)
{
	struct jtag_bulk_data *data = usbd_class_get_private(c_data);

	atomic_clear_bit(&data->state, JTAG_BULK_ENABLED);
	atomic_clear_bit(&data->state, JTAG_BULK_OUT_ARMED);
	atomic_clear_bit(&data->state, JTAG_BULK_IN_FLIGHT);
	jtag_bulk_reset_rx(data);
}

static int jtag_bulk_class_init(struct usbd_class_data *c_data)
{
	ARG_UNUSED(c_data);
	return 0;
}

static const struct usbd_class_api jtag_bulk_api = {
	.request = jtag_bulk_request_handler,
	.get_desc = jtag_bulk_get_desc,
	.enable = jtag_bulk_enable,
	.disable = jtag_bulk_disable,
	.init = jtag_bulk_class_init,
};

static struct jtag_bulk_desc jtag_bulk_desc_0 = {
	.if0 = {
		.bLength = sizeof(struct usb_if_descriptor),
		.bDescriptorType = USB_DESC_INTERFACE,
		.bInterfaceNumber = 0,
		.bAlternateSetting = 0,
		.bNumEndpoints = 2,
		.bInterfaceClass = USB_BCC_VENDOR,
		.bInterfaceSubClass = 0,
		.bInterfaceProtocol = 0,
		.iInterface = 0,
	},
	.if0_out_ep = {
		.bLength = sizeof(struct usb_ep_descriptor),
		.bDescriptorType = USB_DESC_ENDPOINT,
		.bEndpointAddress = JTAG_BULK_EP_OUT_ADDR,
		.bmAttributes = USB_EP_TYPE_BULK,
		.wMaxPacketSize = sys_cpu_to_le16(64u),
		.bInterval = 0,
	},
	.if0_in_ep = {
		.bLength = sizeof(struct usb_ep_descriptor),
		.bDescriptorType = USB_DESC_ENDPOINT,
		.bEndpointAddress = JTAG_BULK_EP_IN_ADDR,
		.bmAttributes = USB_EP_TYPE_BULK,
		.wMaxPacketSize = sys_cpu_to_le16(64u),
		.bInterval = 0,
	},
	.if0_hs_out_ep = {
		.bLength = sizeof(struct usb_ep_descriptor),
		.bDescriptorType = USB_DESC_ENDPOINT,
		.bEndpointAddress = JTAG_BULK_EP_OUT_ADDR,
		.bmAttributes = USB_EP_TYPE_BULK,
		.wMaxPacketSize = sys_cpu_to_le16(512u),
		.bInterval = 0,
	},
	.if0_hs_in_ep = {
		.bLength = sizeof(struct usb_ep_descriptor),
		.bDescriptorType = USB_DESC_ENDPOINT,
		.bEndpointAddress = JTAG_BULK_EP_IN_ADDR,
		.bmAttributes = USB_EP_TYPE_BULK,
		.wMaxPacketSize = sys_cpu_to_le16(512u),
		.bInterval = 0,
	},
	.nil_desc = {
		.bLength = 0,
		.bDescriptorType = 0,
	},
};

static const struct usb_desc_header *jtag_bulk_fs_desc_0[] = {
	(struct usb_desc_header *)&jtag_bulk_desc_0.if0,
	(struct usb_desc_header *)&jtag_bulk_desc_0.if0_in_ep,
	(struct usb_desc_header *)&jtag_bulk_desc_0.if0_out_ep,
	(struct usb_desc_header *)&jtag_bulk_desc_0.nil_desc,
};

static const struct usb_desc_header *jtag_bulk_hs_desc_0[] = {
	(struct usb_desc_header *)&jtag_bulk_desc_0.if0,
	(struct usb_desc_header *)&jtag_bulk_desc_0.if0_hs_in_ep,
	(struct usb_desc_header *)&jtag_bulk_desc_0.if0_hs_out_ep,
	(struct usb_desc_header *)&jtag_bulk_desc_0.nil_desc,
};

static struct jtag_bulk_data jtag_bulk_data_0 = {
	.desc = &jtag_bulk_desc_0,
	.fs_desc = jtag_bulk_fs_desc_0,
	.hs_desc = jtag_bulk_hs_desc_0,
};

USBD_DEFINE_CLASS(jtag_bulk_0, &jtag_bulk_api, &jtag_bulk_data_0, NULL);

USBD_DEVICE_DEFINE(jtag_usbd,
		   DEVICE_DT_GET(DT_NODELABEL(zephyr_udc0)),
		   0x2FE3,
		   0x0001);
USBD_DESC_LANG_DEFINE(jtag_lang);
USBD_DESC_MANUFACTURER_DEFINE(jtag_mfr, "Chriesibaum GmbH");
USBD_DESC_PRODUCT_DEFINE(jtag_product, "Chriesibaum's JTAG Probe");
USBD_DESC_CONFIG_DEFINE(jtag_fs_cfg_desc, "JTAG FS");
USBD_DESC_CONFIG_DEFINE(jtag_hs_cfg_desc, "JTAG HS");
USBD_CONFIGURATION_DEFINE(jtag_fs_config, 0, 50, &jtag_fs_cfg_desc);
USBD_CONFIGURATION_DEFINE(jtag_hs_config, 0, 50, &jtag_hs_cfg_desc);

static int register_classes_for_speed(enum usbd_speed speed)
{
	int ret;

	ret = usbd_register_class(&jtag_usbd, "jtag_bulk_0", speed, 1);
	if (ret != 0) {
		return ret;
	}

#if defined(CONFIG_USBD_CDC_ACM_CLASS)
	ret = usbd_register_class(&jtag_usbd, "cdc_acm_0", speed, 1);
	if (ret != 0) {
		return ret;
	}
#endif

	return 0;
}

static void jtag_usbd_msg_cb(struct usbd_context *const usbd_ctx,
			     const struct usbd_msg *const msg)
{
	if (usbd_can_detect_vbus(usbd_ctx)) {
		if (msg->type == USBD_MSG_VBUS_READY) {
			(void)usbd_enable(usbd_ctx);
		}

		if (msg->type == USBD_MSG_VBUS_REMOVED) {
			(void)usbd_disable(usbd_ctx);
		}
	}
}

int usb_bulk_jtag_init(void)
{
	int ret;

	ret = usbd_add_descriptor(&jtag_usbd, &jtag_lang);
	if (ret != 0) {
		return ret;
	}

	ret = usbd_add_descriptor(&jtag_usbd, &jtag_mfr);
	if (ret != 0) {
		return ret;
	}

	ret = usbd_add_descriptor(&jtag_usbd, &jtag_product);
	if (ret != 0) {
		return ret;
	}

	if (USBD_SUPPORTS_HIGH_SPEED && usbd_caps_speed(&jtag_usbd) == USBD_SPEED_HS) {
		ret = usbd_add_configuration(&jtag_usbd, USBD_SPEED_HS, &jtag_hs_config);
		if (ret != 0) {
			return ret;
		}

		ret = register_classes_for_speed(USBD_SPEED_HS);
		if (ret != 0) {
			return ret;
		}
	}

	ret = usbd_add_configuration(&jtag_usbd, USBD_SPEED_FS, &jtag_fs_config);
	if (ret != 0) {
		return ret;
	}

	ret = register_classes_for_speed(USBD_SPEED_FS);
	if (ret != 0) {
		return ret;
	}

	ret = usbd_msg_register_cb(&jtag_usbd, jtag_usbd_msg_cb);
	if (ret != 0) {
		return ret;
	}

	ret = usbd_init(&jtag_usbd);
	if (ret != 0) {
		return ret;
	}

	if (!usbd_can_detect_vbus(&jtag_usbd)) {
		ret = usbd_enable(&jtag_usbd);
		if (ret != 0) {
			return ret;
		}
	}

	return 0;
}
```

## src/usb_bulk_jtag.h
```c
#ifndef USB_BULK_JTAG_H_
#define USB_BULK_JTAG_H_

#ifdef __cplusplus
extern "C" {
#endif

int usb_bulk_jtag_init(void);

#ifdef __cplusplus
}
#endif

#endif /* USB_BULK_JTAG_H_ */
```

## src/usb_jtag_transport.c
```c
#include "usb_jtag_transport.h"

#include <string.h>

#include <zephyr/drivers/hwinfo.h>

#include "fw_version.h"
#include "jtag_engine.h"
#include "jtag_proto.h"

int usb_jtag_transport_process_frame(const uint8_t *rx_buf,
				     size_t rx_len,
				     uint8_t *tx_buf,
				     size_t tx_buf_len,
				     size_t *tx_len)
{
	struct jtag_scan_request req;
	struct jtag_scan_response rsp;
	uint16_t reserved;
	uint32_t n_bits;
	uint8_t cmd;
	int rc;

	if ((rx_buf == NULL) || (tx_buf == NULL) || (tx_len == NULL)) {
		return -1;
	}

	cmd = rx_buf[0];

	if (cmd == JTAG_CMD_SCAN) {
		rc = jtag_proto_decode_scan_request(rx_buf, rx_len, &req);
		if (rc != 0) {
			rsp.status = JTAG_STATUS_BAD_LEN;
			rsp.flags = 0u;
			rsp.n_bits = 0u;
			rsp.n_bytes = 0u;
			rsp.tdo = NULL;
			return jtag_proto_encode_scan_response(&rsp, tx_buf, tx_buf_len, tx_len);
		}

		rc = jtag_engine_shift_bits(req.tdi, req.tms,
					    &tx_buf[JTAG_PROTO_HEADER_SIZE], req.n_bits);
		if (rc != 0) {
			rsp.status = JTAG_STATUS_INTERNAL_ERR;
			rsp.flags = req.flags;
			rsp.n_bits = req.n_bits;
			rsp.n_bytes = 0u;
			rsp.tdo = NULL;
			return jtag_proto_encode_scan_response(&rsp, tx_buf, tx_buf_len, tx_len);
		}

		rsp.status = JTAG_STATUS_OK;
		rsp.flags = req.flags;
		rsp.n_bits = req.n_bits;
		rsp.n_bytes = req.n_bytes;
		rsp.tdo = &tx_buf[JTAG_PROTO_HEADER_SIZE];

		return jtag_proto_encode_scan_response(&rsp, tx_buf, tx_buf_len, tx_len);
	}

	if (rx_len != JTAG_PROTO_HEADER_SIZE) {
		rsp.status = JTAG_STATUS_BAD_LEN;
		rsp.flags = 0u;
		rsp.n_bits = 0u;
		rsp.n_bytes = 0u;
		rsp.tdo = NULL;
		return jtag_proto_encode_scan_response(&rsp, tx_buf, tx_buf_len, tx_len);
	}

	reserved = (uint16_t)rx_buf[2] | ((uint16_t)rx_buf[3] << 8);
	n_bits = (uint32_t)rx_buf[4] |
		 ((uint32_t)rx_buf[5] << 8) |
		 ((uint32_t)rx_buf[6] << 16) |
		 ((uint32_t)rx_buf[7] << 24);

	if ((reserved != 0u) || (n_bits != 0u)) {
		rsp.status = JTAG_STATUS_BAD_LEN;
		rsp.flags = 0u;
		rsp.n_bits = 0u;
		rsp.n_bytes = 0u;
		rsp.tdo = NULL;
		return jtag_proto_encode_scan_response(&rsp, tx_buf, tx_buf_len, tx_len);
	}

	if (cmd == JTAG_CMD_NSRST_HIGH) {
		rc = jtag_engine_set_nsrst_high();
	} else if (cmd == JTAG_CMD_NSRST_LOW) {
		rc = jtag_engine_set_nsrst_low();
	} else if (cmd == JTAG_CMD_GET_FW_VERSION) {
		uint8_t version_payload[JTAG_FW_VERSION_PAYLOAD_LEN] = {0};

		strncpy((char *)version_payload, FW_VERSION_STRING,
			JTAG_FW_VERSION_PAYLOAD_LEN - 1u);

		rsp.status = JTAG_STATUS_OK;
		rsp.flags = 0u;
		rsp.n_bits = JTAG_FW_VERSION_PAYLOAD_LEN * 8u;
		rsp.n_bytes = JTAG_FW_VERSION_PAYLOAD_LEN;
		rsp.tdo = version_payload;
		return jtag_proto_encode_scan_response(&rsp, tx_buf, tx_buf_len, tx_len);
	} else if (cmd == JTAG_CMD_GET_DEVICE_ID) {
		uint8_t device_id_payload[JTAG_DEVICE_ID_PAYLOAD_MAX_LEN] = {0};
		ssize_t device_id_len;

		device_id_len = hwinfo_get_device_id(device_id_payload,
						     sizeof(device_id_payload));
		if (device_id_len <= 0) {
			rsp.status = JTAG_STATUS_INTERNAL_ERR;
			rsp.flags = 0u;
			rsp.n_bits = 0u;
			rsp.n_bytes = 0u;
			rsp.tdo = NULL;
			return jtag_proto_encode_scan_response(&rsp, tx_buf, tx_buf_len, tx_len);
		}

		rsp.status = JTAG_STATUS_OK;
		rsp.flags = 0u;
		rsp.n_bits = (uint32_t)device_id_len * 8u;
		rsp.n_bytes = (size_t)device_id_len;
		rsp.tdo = device_id_payload;
		return jtag_proto_encode_scan_response(&rsp, tx_buf, tx_buf_len, tx_len);
	} else {
		rsp.status = JTAG_STATUS_BAD_CMD;
		rsp.flags = 0u;
		rsp.n_bits = 0u;
		rsp.n_bytes = 0u;
		rsp.tdo = NULL;
		return jtag_proto_encode_scan_response(&rsp, tx_buf, tx_buf_len, tx_len);
	}

	rsp.status = (rc == 0) ? JTAG_STATUS_OK : JTAG_STATUS_INTERNAL_ERR;
	rsp.flags = 0u;
	rsp.n_bits = 0u;
	rsp.n_bytes = 0u;
	rsp.tdo = NULL;

	return jtag_proto_encode_scan_response(&rsp, tx_buf, tx_buf_len, tx_len);
}
```

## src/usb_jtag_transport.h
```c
#ifndef USB_JTAG_TRANSPORT_H_
#define USB_JTAG_TRANSPORT_H_

#include <stddef.h>
#include <stdint.h>

#ifdef __cplusplus
extern "C" {
#endif

int usb_jtag_transport_process_frame(const uint8_t *rx_buf,
				     size_t rx_len,
				     uint8_t *tx_buf,
				     size_t tx_buf_len,
				     size_t *tx_len);

#ifdef __cplusplus
}
#endif

#endif /* USB_JTAG_TRANSPORT_H_ */
```
